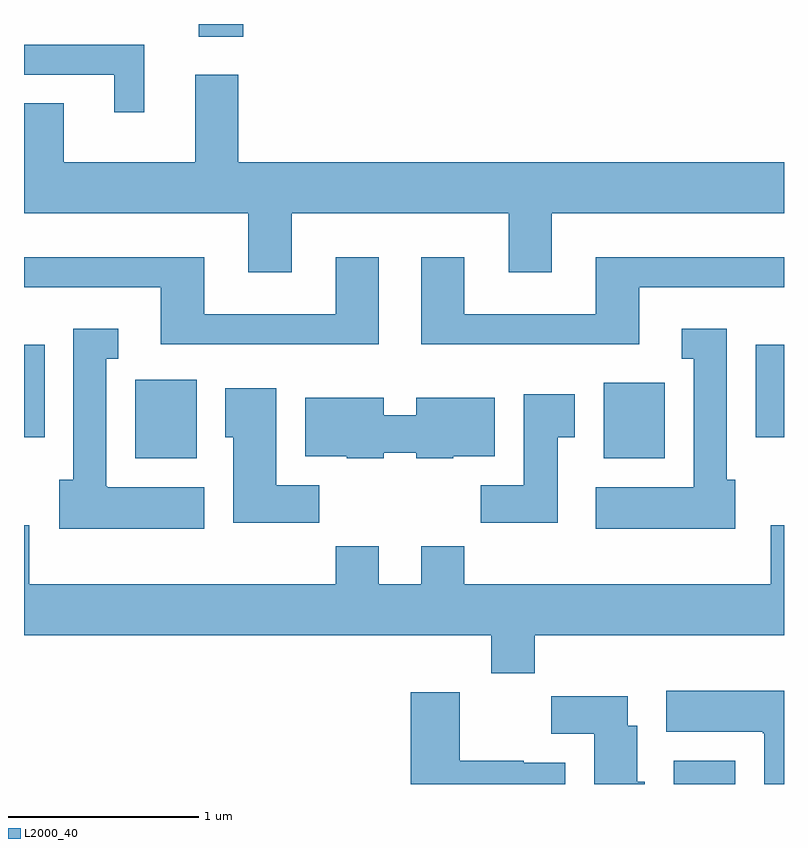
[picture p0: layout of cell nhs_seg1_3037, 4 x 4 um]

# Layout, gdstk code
import gdstk
lib = gdstk.Library(unit=1e-6, precision=1e-09)
def R(c, l, rs):  # rectangles x0, y0, x1, y1
    for r in rs: c.add(gdstk.rectangle(r[:2], r[2:], *l))
def P(c, l, *ps):  # polygons
    for p in ps: c.add(gdstk.Polygon(p, *l))
L2000_40 = (2000, 40)

nhs_seg1_3037 = lib.new_cell('nhs_seg1_3037')
R(nhs_seg1_3037, L2000_40, [(281.031,867.712,281.354,867.834), (278.196,869.426,278.519,869.839), (280.661,869.426,280.984,869.824), (277.611,869.536,277.719,870.024), (281.461,869.536,281.611,870.024), (278.531,871.646,278.764,871.712)])
P(nhs_seg1_3037, L2000_40, [(278.244,871.604),(277.611,871.604),(277.611,871.446),(278.086,871.446),(278.086,871.248),(278.244,871.248)],
  [(279.019,870.716),(280.161,870.716),(280.161,870.406),(280.389,870.406),(280.389,870.716),(281.611,870.716),(281.611,870.984),(278.739,870.984),(278.739,871.444),(278.511,871.444),(278.511,870.984),(277.819,870.984),(277.819,871.294),(277.611,871.294),(277.611,870.716),(278.791,870.716),(278.791,870.406),(279.019,870.406)],
  [(279.479,870.484),(279.251,870.484),(279.251,870.184),(278.559,870.184),(278.559,870.484),(277.611,870.484),(277.611,870.326),(278.331,870.326),(278.331,870.026),(279.479,870.026)],
  [(280.849,870.326),(281.611,870.326),(281.611,870.484),(280.621,870.484),(280.621,870.184),(279.929,870.184),(279.929,870.484),(279.701,870.484),(279.701,870.026),(280.849,870.026)],
  [(281.354,869.314),(281.309,869.314),(281.309,870.109),(281.073,870.109),(281.073,869.951),(281.136,869.951),(281.136,869.274),(280.621,869.274),(280.621,869.056),(281.354,869.056)],
  [(278.559,869.274),(278.05,869.274),(278.05,869.28),(278.044,869.28),(278.044,869.951),(278.108,869.951),(278.108,870.109),(277.871,870.109),(277.871,869.314),(277.796,869.314),(277.796,869.056),(278.559,869.056)],
  [(279.164,869.284),(278.939,869.284),(278.939,869.794),(278.671,869.794),(278.671,869.536),(278.711,869.536),(278.711,869.086),(279.164,869.086)],
  [(280.419,869.536),(280.509,869.536),(280.509,869.764),(280.241,869.764),(280.241,869.284),(280.016,869.284),(280.016,869.086),(280.419,869.086)],
  [(279.504,869.456),(279.676,869.456),(279.676,869.426),(279.87,869.426),(279.87,869.436),(280.089,869.436),(280.089,869.744),(279.676,869.744),(279.676,869.654),(279.504,869.654),(279.504,869.744),(279.091,869.744),(279.091,869.436),(279.31,869.436),(279.31,869.426),(279.504,869.426)],
  [(281.611,869.074),(281.541,869.074),(281.541,868.764),(279.929,868.764),(279.929,868.964),(279.701,868.964),(279.701,868.764),(279.479,868.764),(279.479,868.964),(279.251,868.964),(279.251,868.764),(277.639,868.764),(277.639,869.074),(277.611,869.074),(277.611,868.496),(280.071,868.496),(280.071,868.296),(280.299,868.296),(280.299,868.496),(281.611,868.496)],
  [(281.611,868.204),(280.991,868.204),(280.991,867.986),(281.5,867.986),(281.5,867.98),(281.506,867.98),(281.506,867.712),(281.611,867.712)],
  [(280.459,867.824),(280.24,867.824),(280.24,867.834),(279.904,867.834),(279.904,868.194),(279.646,868.194),(279.646,867.712),(280.459,867.712)],
  [(280.879,867.724),(280.839,867.724),(280.839,868.019),(280.789,868.019),(280.789,868.174),(280.386,868.174),(280.386,867.976),(280.611,867.976),(280.611,867.712),(280.879,867.712)])

lib.write_gds('nhs_seg1_3037.gds')
